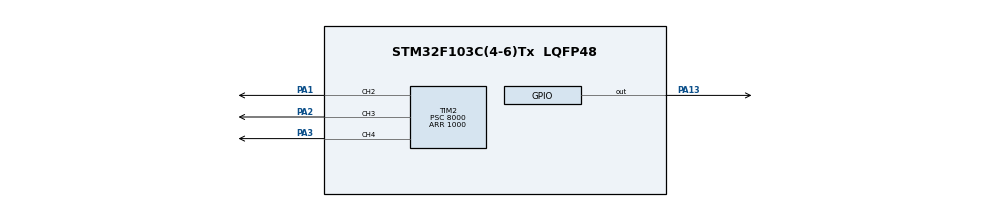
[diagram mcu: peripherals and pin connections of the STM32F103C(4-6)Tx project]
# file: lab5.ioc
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Mcu.Family=STM32F1
Mcu.Name=STM32F103C(4-6)Tx
Mcu.Package=LQFP48
NVIC.PriorityGroup=NVIC_PRIORITYGROUP_4
NVIC.TIM3_IRQn=true\:0\:0\:false\:true\:true\:1\:true\:true
PA1.Signal=S_TIM2_CH2
PA13.Signal=GPIO_Output
PA2.Signal=S_TIM2_CH3
PA3.Signal=S_TIM2_CH4
ProjectManager.HeapSize=0x200
ProjectManager.StackSize=0x400
ProjectManager.TargetToolchain=STM32CubeIDE
RCC.AHBFreq_Value=8000000
RCC.APB1Freq_Value=8000000
RCC.APB1TimFreq_Value=8000000
RCC.APB2CLKDivider=RCC_HCLK_DIV4
RCC.APB2Freq_Value=2000000
RCC.APB2TimFreq_Value=4000000
RCC.HCLKFreq_Value=8000000
SH.S_TIM2_CH2.0=TIM2_CH2,PWM Generation2 CH2
SH.S_TIM2_CH3.0=TIM2_CH3,PWM Generation3 CH3
SH.S_TIM2_CH4.0=TIM2_CH4,PWM Generation4 CH4
TIM2.Channel-PWM\ Generation2\ CH2=TIM_CHANNEL_2
TIM2.Channel-PWM\ Generation3\ CH3=TIM_CHANNEL_3
TIM2.Channel-PWM\ Generation4\ CH4=TIM_CHANNEL_4
TIM2.Period=1000
TIM2.Prescaler=8000
TIM2.Pulse-PWM\ Generation2\ CH2=100
TIM2.Pulse-PWM\ Generation3\ CH3=500
TIM2.Pulse-PWM\ Generation4\ CH4=800
TIM3.Period=1000
TIM3.Prescaler=6000
TIM3.TIM_MasterOutputTrigger=TIM_TRGO_UPDATE
VP_SYS_VS_ND.Mode=No_Debug
VP_TIM2_VS_ClockSourceINT.Mode=Internal
VP_TIM3_VS_ClockSourceINT.Mode=Internal
board=custom

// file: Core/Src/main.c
/* USER CODE BEGIN Header */
/**
  ******************************************************************************
  * @file           : main.c
  * @brief          : Main program body
  ******************************************************************************
  * @attention
  *
  * <h2><center>&copy; Copyright (c) 2021 STMicroelectronics.
  * All rights reserved.</center></h2>
  *
  * This software component is licensed by ST under BSD 3-Clause license,
  * the "License"; You may not use this file except in compliance with the
  * License. You may obtain a copy of the License at:
  *                        opensource.org/licenses/BSD-3-Clause
  *
  ******************************************************************************
  */
/* USER CODE END Header */
#include "main.h"

TIM_HandleTypeDef htim2;
TIM_HandleTypeDef htim3;

void SystemClock_Config(void);
static void MX_GPIO_Init(void);
static void MX_TIM2_Init(void);
static void MX_TIM3_Init(void);
static void MX_NVIC_Init(void);

int main(void)
{

  /* MCU Configuration--------------------------------------------------------*/

  /* Reset of all peripherals, Initializes the Flash interface and the Systick. */
  HAL_Init();

  /* Configure the system clock */
  SystemClock_Config();

  /* Initialize all configured peripherals */
  MX_GPIO_Init();
  MX_TIM2_Init();
  MX_TIM3_Init();

  /* Initialize interrupts */
  MX_NVIC_Init();
  /* USER CODE BEGIN 2 */
  HAL_TIM_PWM_Start (&htim2, TIM_CHANNEL_2);
  HAL_TIM_PWM_Start (&htim2, TIM_CHANNEL_3);
  HAL_TIM_PWM_Start (&htim2, TIM_CHANNEL_4);

  HAL_TIM_Base_Start_IT (&htim3);
  /* USER CODE END 2 */

  /* Infinite loop */
	  while (1)
	  {

	  }
}

void SystemClock_Config(void)
{
  RCC_OscInitTypeDef RCC_OscInitStruct = {0};
  RCC_ClkInitTypeDef RCC_ClkInitStruct = {0};

  /** Initializes the RCC Oscillators according to the specified parameters
  * in the RCC_OscInitTypeDef structure.
  */
  RCC_OscInitStruct.OscillatorType = RCC_OSCILLATORTYPE_HSI;
  RCC_OscInitStruct.HSIState = RCC_HSI_ON;
  RCC_OscInitStruct.HSICalibrationValue = RCC_HSICALIBRATION_DEFAULT;
  RCC_OscInitStruct.PLL.PLLState = RCC_PLL_NONE;
  if (HAL_RCC_OscConfig(&RCC_OscInitStruct) != HAL_OK)
  {
    Error_Handler();
  }
  /** Initializes the CPU, AHB and APB buses clocks
  */
  RCC_ClkInitStruct.ClockType = RCC_CLOCKTYPE_HCLK|RCC_CLOCKTYPE_SYSCLK
                              |RCC_CLOCKTYPE_PCLK1|RCC_CLOCKTYPE_PCLK2;
  RCC_ClkInitStruct.SYSCLKSource = RCC_SYSCLKSOURCE_HSI;
  RCC_ClkInitStruct.AHBCLKDivider = RCC_SYSCLK_DIV1;
  RCC_ClkInitStruct.APB1CLKDivider = RCC_HCLK_DIV1;
  RCC_ClkInitStruct.APB2CLKDivider = RCC_HCLK_DIV4;

  if (HAL_RCC_ClockConfig(&RCC_ClkInitStruct, FLASH_LATENCY_0) != HAL_OK)
  {
    Error_Handler();
  }
}

/**
  * @brief NVIC Configuration.
  * @retval None
  */
static void MX_NVIC_Init(void)
{
  /* TIM3_IRQn interrupt configuration */
  HAL_NVIC_SetPriority(TIM3_IRQn, 0, 0);
  HAL_NVIC_EnableIRQ(TIM3_IRQn);
}

static void MX_TIM2_Init(void)
{

  TIM_ClockConfigTypeDef sClockSourceConfig = {0};
  TIM_MasterConfigTypeDef sMasterConfig = {0};
  TIM_OC_InitTypeDef sConfigOC = {0};

  htim2.Instance = TIM2;
  htim2.Init.Prescaler = 8000;
  htim2.Init.CounterMode = TIM_COUNTERMODE_UP;
  htim2.Init.Period = 1000;
  htim2.Init.ClockDivision = TIM_CLOCKDIVISION_DIV1;
  htim2.Init.AutoReloadPreload = TIM_AUTORELOAD_PRELOAD_DISABLE;
  if (HAL_TIM_Base_Init(&htim2) != HAL_OK)
  {
    Error_Handler();
  }
  sClockSourceConfig.ClockSource = TIM_CLOCKSOURCE_INTERNAL;
  if (HAL_TIM_ConfigClockSource(&htim2, &sClockSourceConfig) != HAL_OK)
  {
    Error_Handler();
  }
  if (HAL_TIM_PWM_Init(&htim2) != HAL_OK)
  {
    Error_Handler();
  }
  sMasterConfig.MasterOutputTrigger = TIM_TRGO_RESET;
  sMasterConfig.MasterSlaveMode = TIM_MASTERSLAVEMODE_DISABLE;
  if (HAL_TIMEx_MasterConfigSynchronization(&htim2, &sMasterConfig) != HAL_OK)
  {
    Error_Handler();
  }
  sConfigOC.OCMode = TIM_OCMODE_PWM1;
  sConfigOC.Pulse = 100;
  sConfigOC.OCPolarity = TIM_OCPOLARITY_HIGH;
  sConfigOC.OCFastMode = TIM_OCFAST_DISABLE;
  if (HAL_TIM_PWM_ConfigChannel(&htim2, &sConfigOC, TIM_CHANNEL_2) != HAL_OK)
  {
    Error_Handler();
  }
  sConfigOC.Pulse = 500;
  if (HAL_TIM_PWM_ConfigChannel(&htim2, &sConfigOC, TIM_CHANNEL_3) != HAL_OK)
  {
    Error_Handler();
  }
  sConfigOC.Pulse = 800;
  if (HAL_TIM_PWM_ConfigChannel(&htim2, &sConfigOC, TIM_CHANNEL_4) != HAL_OK)
  {
    Error_Handler();
  }
  HAL_TIM_MspPostInit(&htim2);

}

static void MX_TIM3_Init(void)
{

  TIM_ClockConfigTypeDef sClockSourceConfig = {0};
  TIM_MasterConfigTypeDef sMasterConfig = {0};

  htim3.Instance = TIM3;
  htim3.Init.Prescaler = 6000;
  htim3.Init.CounterMode = TIM_COUNTERMODE_UP;
  htim3.Init.Period = 1000;
  htim3.Init.ClockDivision = TIM_CLOCKDIVISION_DIV1;
  htim3.Init.AutoReloadPreload = TIM_AUTORELOAD_PRELOAD_DISABLE;
  if (HAL_TIM_Base_Init(&htim3) != HAL_OK)
  {
    Error_Handler();
  }
  sClockSourceConfig.ClockSource = TIM_CLOCKSOURCE_INTERNAL;
  if (HAL_TIM_ConfigClockSource(&htim3, &sClockSourceConfig) != HAL_OK)
  {
    Error_Handler();
  }
  sMasterConfig.MasterOutputTrigger = TIM_TRGO_UPDATE;
  sMasterConfig.MasterSlaveMode = TIM_MASTERSLAVEMODE_DISABLE;
  if (HAL_TIMEx_MasterConfigSynchronization(&htim3, &sMasterConfig) != HAL_OK)
  {
    Error_Handler();
  }

}

static void MX_GPIO_Init(void)
{
  GPIO_InitTypeDef GPIO_InitStruct = {0};

  /* GPIO Ports Clock Enable */
  __HAL_RCC_GPIOA_CLK_ENABLE();

  /*Configure GPIO pin Output Level */
  HAL_GPIO_WritePin(GPIOA, GPIO_PIN_13, GPIO_PIN_RESET);

  /*Configure GPIO pin : PA13 */
  GPIO_InitStruct.Pin = GPIO_PIN_13;
  GPIO_InitStruct.Mode = GPIO_MODE_OUTPUT_PP;
  GPIO_InitStruct.Pull = GPIO_NOPULL;
  GPIO_InitStruct.Speed = GPIO_SPEED_FREQ_LOW;
  HAL_GPIO_Init(GPIOA, &GPIO_InitStruct);

}

/* USER CODE BEGIN 4 */
int pulsePWM = 0;
int inc = 1;

void HAL_TIM_PeriodElapsedCallback(TIM_HandleTypeDef *htim)
{
	HAL_GPIO_TogglePin (GPIOA, GPIO_PIN_13);

	if (inc == 1)
	{
		pulsePWM += 100;
	} else
	{
		pulsePWM -= 100;
	}

	__HAL_TIM_SetCompare (&htim2, TIM_CHANNEL_2, pulsePWM);

	if (pulsePWM == 900)
	{
		inc = 0;
	} else if (pulsePWM == 0)
	{
		inc = 1;
	}
}
/* USER CODE END 4 */

void Error_Handler(void)
{
  __disable_irq();
  while (1)
  {
  }
}
